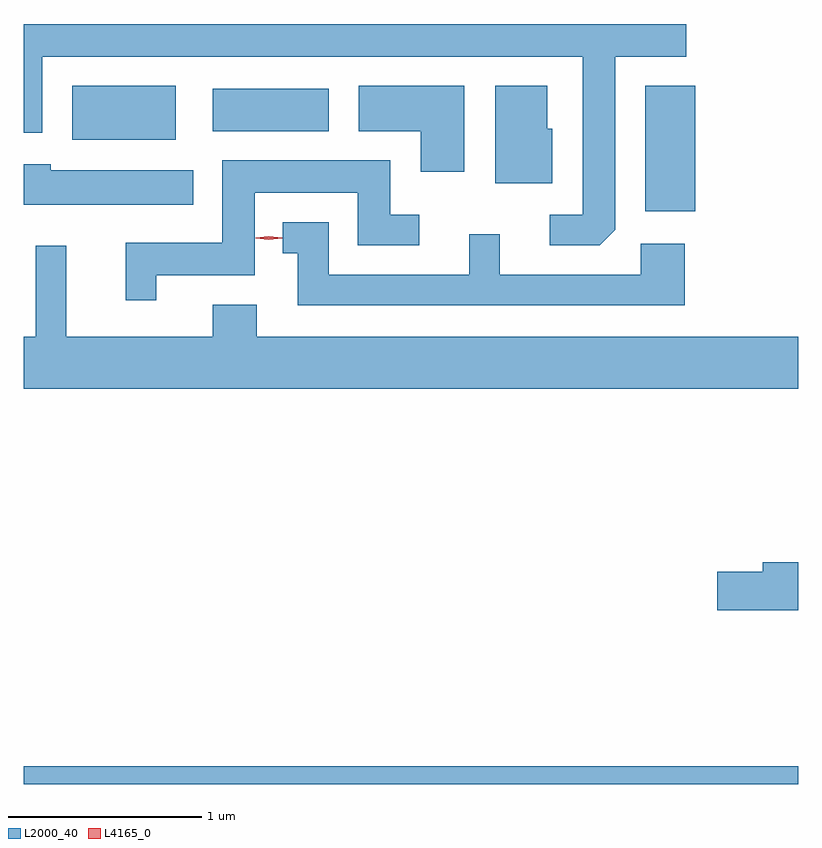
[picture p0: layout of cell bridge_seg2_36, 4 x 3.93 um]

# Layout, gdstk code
import gdstk
lib = gdstk.Library(unit=1e-6, precision=1e-09)
def R(c, l, rs):  # rectangles x0, y0, x1, y1
    for r in rs: c.add(gdstk.rectangle(r[:2], r[2:], *l))
def P(c, l, *ps):  # polygons
    for p in ps: c.add(gdstk.Polygon(p, *l))
L2000_40 = (2000, 40)
L4165_0 = (4165, 0)

bridge_seg2_36 = lib.new_cell('bridge_seg2_36')
R(bridge_seg2_36, L2000_40, [(1415.295,1050.713,1419.295,1050.804), (1418.506,1053.671,1418.764,1054.319), (1415.546,1054.041,1416.079,1054.319), (1416.271,1054.086,1416.869,1054.304)])
P(bridge_seg2_36, L2000_40, [(1418.349,1053.577),(1418.349,1054.471),(1418.718,1054.471),(1418.718,1054.639),(1415.295,1054.639),(1415.295,1054.076),(1415.389,1054.076),(1415.389,1054.471),(1418.181,1054.471),(1418.181,1053.654),(1418.013,1053.654),(1418.013,1053.496),(1418.269,1053.496)],
  [(1418.024,1054.099),(1417.999,1054.099),(1417.999,1054.319),(1417.731,1054.319),(1417.731,1053.816),(1418.024,1053.816)],
  [(1417.569,1054.319),(1417.026,1054.319),(1417.026,1054.086),(1417.346,1054.086),(1417.346,1053.876),(1417.569,1053.876)],
  [(1415.979,1053.341),(1416.489,1053.341),(1416.489,1053.766),(1417.021,1053.766),(1417.021,1053.496),(1417.338,1053.496),(1417.338,1053.654),(1417.189,1053.654),(1417.189,1053.934),(1416.321,1053.934),(1416.321,1053.509),(1415.821,1053.509),(1415.821,1053.213),(1415.979,1053.213)],
  [(1416.169,1053.884),(1415.434,1053.884),(1415.434,1053.914),(1415.295,1053.914),(1415.295,1053.706),(1416.169,1053.706)],
  [(1418.709,1053.504),(1418.481,1053.504),(1418.481,1053.344),(1417.754,1053.344),(1417.754,1053.553),(1417.596,1053.553),(1417.596,1053.344),(1416.869,1053.344),(1416.869,1053.614),(1416.633,1053.614),(1416.633,1053.456),(1416.711,1053.456),(1416.711,1053.186),(1418.709,1053.186)],
  [(1419.295,1053.024),(1416.499,1053.024),(1416.499,1053.189),(1416.271,1053.189),(1416.271,1053.024),(1415.514,1053.024),(1415.514,1053.493),(1415.356,1053.493),(1415.356,1053.024),(1415.295,1053.024),(1415.295,1052.756),(1419.295,1052.756)],
  [(1419.295,1051.859),(1419.111,1051.859),(1419.111,1051.809),(1418.876,1051.809),(1418.876,1051.611),(1419.295,1051.611)])
P(bridge_seg2_36, L4165_0, [(1416.561,1053.524),(1416.492,1053.533),(1416.492,1053.534),(1416.492,1053.534),(1416.561,1053.543),(1416.631,1053.534),(1416.631,1053.534),(1416.631,1053.533)])

lib.write_gds('bridge_seg2_36.gds')
